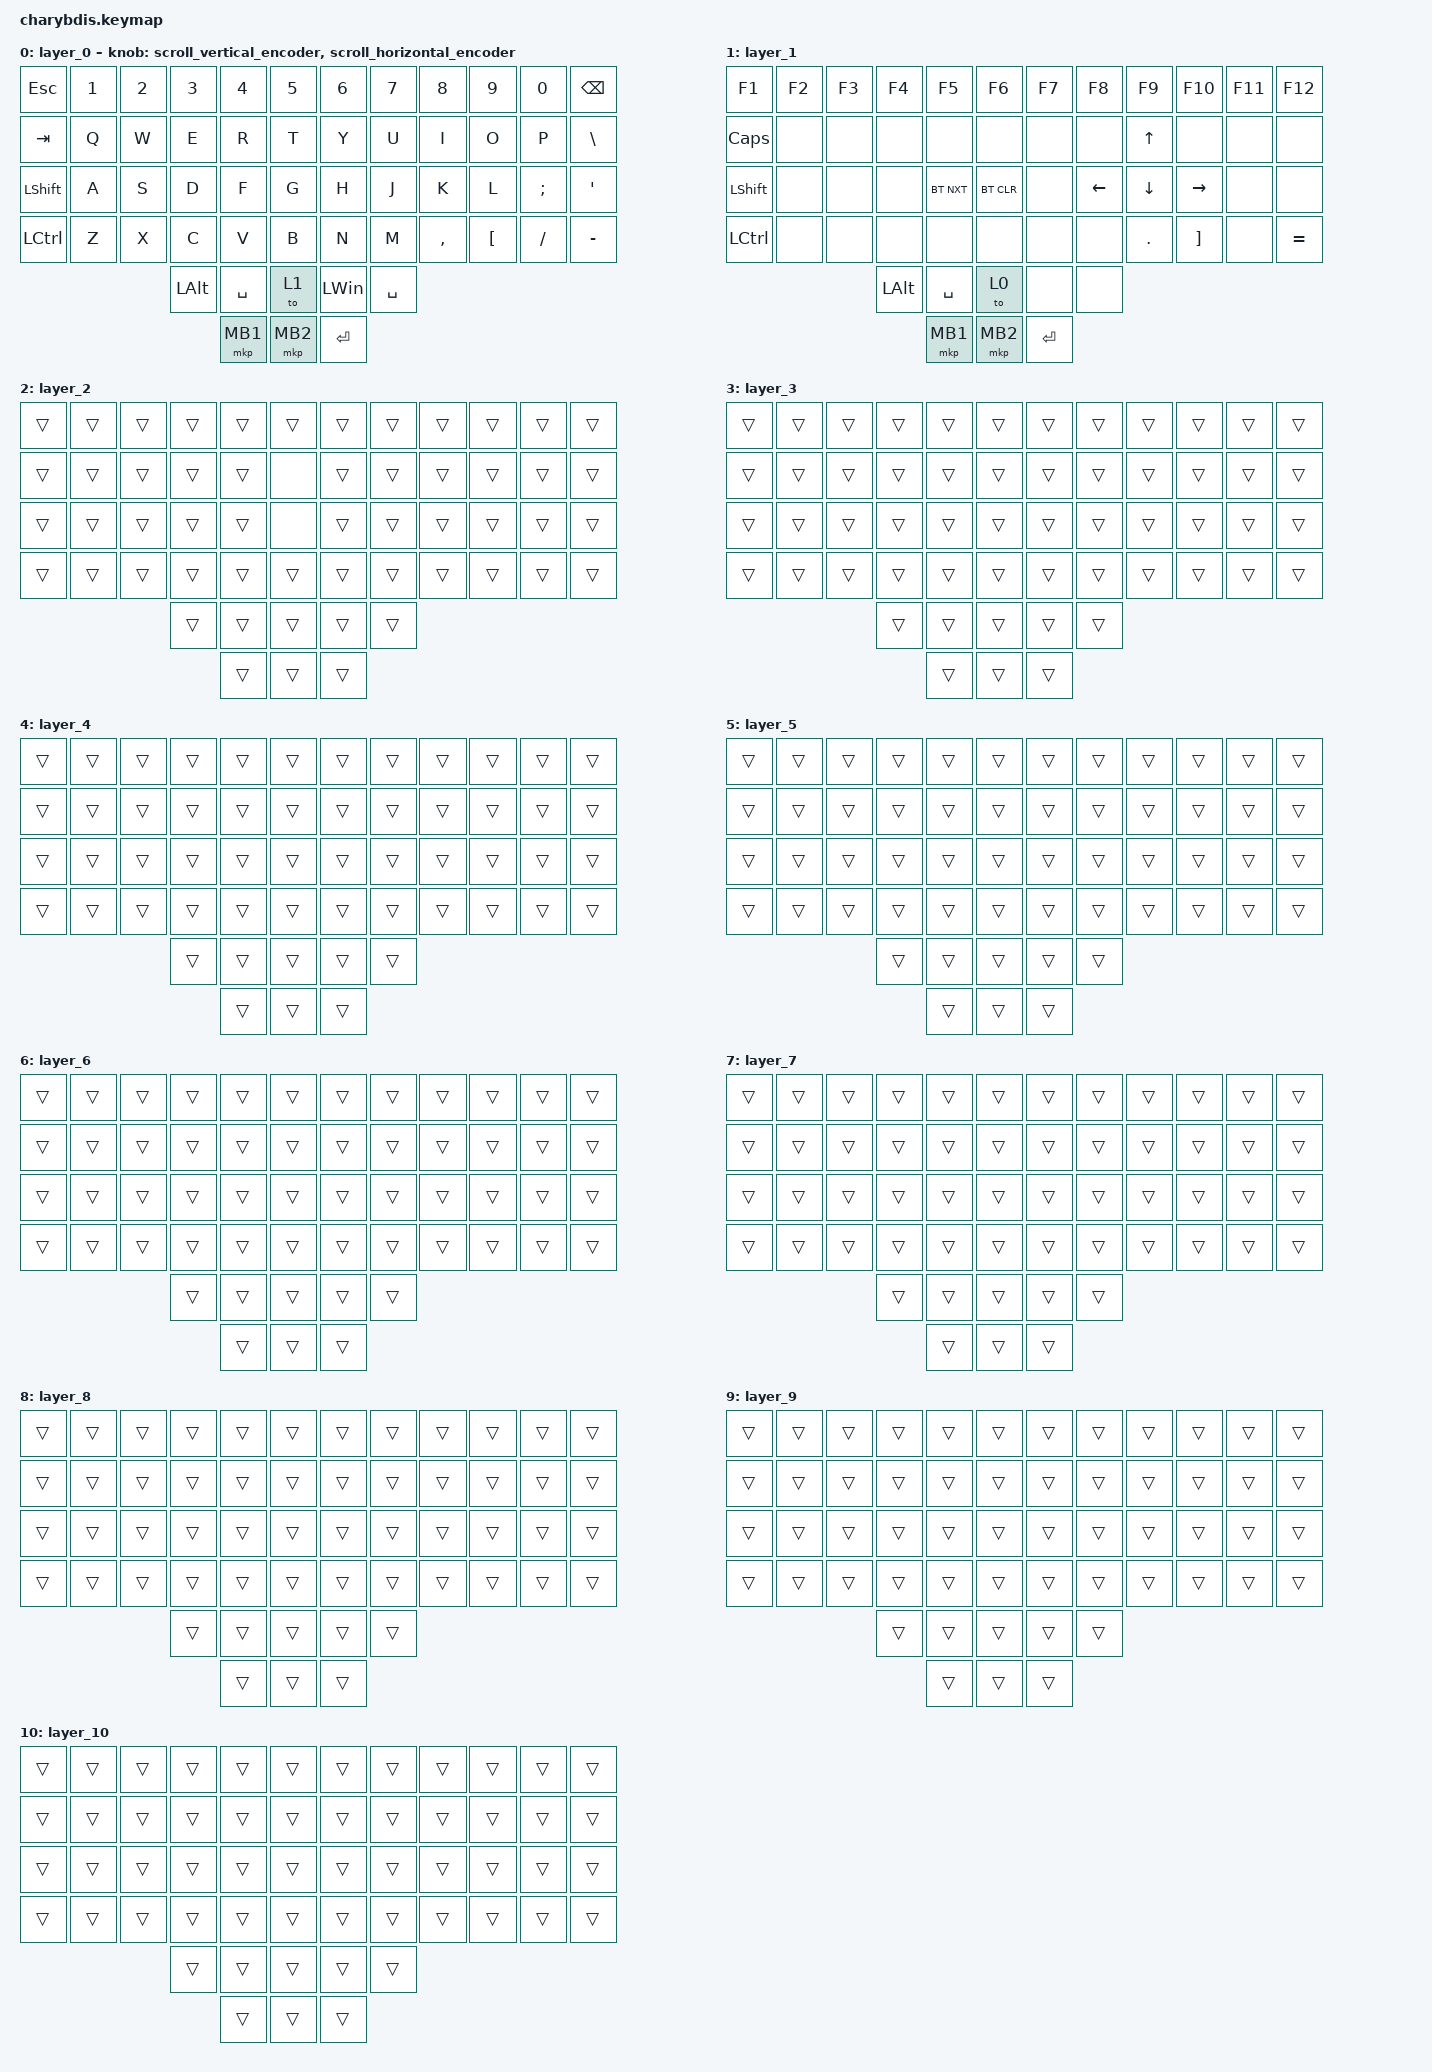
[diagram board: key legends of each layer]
#include <dt-bindings/zmk/mouse.h>
#include <input/processors.dtsi>
#include <zephyr/dt-bindings/input/input-event-codes.h>
#include <behaviors.dtsi>
#include <dt-bindings/zmk/bt.h>
#include <dt-bindings/zmk/keys.h>
#include <dt-bindings/zmk/pointing.h>

#define ZMK_POINTING_DEFAULT_MOVE_VAL 1000 // 600
#define ZMK_POINTING_DEFAULT_SCRL_VAL 12   // 10

&lt {
    tapping-term-ms = <200>;
    flavor = "balanced";
    quick-tap-ms = <150>;
};

&mmv_input_listener { input-processors = <&zip_xy_scaler 2 1>; };

&msc_input_listener { input-processors = <&zip_scroll_scaler 2 1>; };

&msc {
    acceleration-exponent = <0>;      // 0
    time-to-max-speed-ms = <0>;       // 300
    delay-ms = <0>;                   // 0
};

&mmv {
    time-to-max-speed-ms = <500>;
    acceleration-exponent = <1>;
    trigger-period-ms = <16>;
};

/ {
    // 上下滚动编码器行为

    scroll_vertical_encoder: scroll_vertical_encoder {
        compatible = "zmk,behavior-sensor-rotate";
        #sensor-binding-cells = <0>;
        bindings = <&msc SCRL_DOWN>, <&msc SCRL_UP>;

        tap-ms = <100>;
    };

    // 左右滚动编码器行为

    scroll_horizontal_encoder: scroll_horizontal_encoder {
        compatible = "zmk,behavior-sensor-rotate";
        #sensor-binding-cells = <0>;
        bindings = <&msc SCRL_LEFT>, <&msc SCRL_RIGHT>;

        tap-ms = <100>;
    };

    behaviors {
    };

    keymap {
        compatible = "zmk,keymap";

        layer_0 {
            bindings = <
&kp ESC         &kp N1  &kp N2  &kp N3        &kp N4     &kp N5      &kp N6     &kp N7     &kp N8     &kp N9            &kp N0    &kp BACKSPACE
&kp TAB         &kp Q   &kp W   &kp E         &kp R      &kp T       &kp Y      &kp U      &kp I      &kp O             &kp P     &kp BSLH
&kp LEFT_SHIFT  &kp A   &kp S   &kp D         &kp F      &kp G       &kp H      &kp J      &kp K      &kp L             &kp SEMI  &kp SQT
&kp LCTRL       &kp Z   &kp X   &kp C         &kp V      &kp B       &kp N      &kp M      &kp COMMA  &kp LEFT_BRACKET  &kp FSLH  &kp MINUS
                                &kp LEFT_ALT  &kp SPACE  &to 1       &kp LWIN   &kp SPACE
                                              &mkp MB1   &mkp MB2    &kp ENTER
            >;

            sensor-bindings =
                <&scroll_vertical_encoder>,
                // 编码器1：上下滚动,,,,
                <&scroll_horizontal_encoder>;

            // 编码器2：左右滚动
        };

        layer_1 {
            bindings = <
&kp F1          &kp F2  &kp F3  &kp F4        &kp F5      &kp F6        &kp F7     &kp F8    &kp F9      &kp F10            &kp F11  &kp F12
&kp CAPS        &none   &none   &none         &none       &none         &none      &none     &kp UP      &none              &none    &none
&kp LEFT_SHIFT  &none   &none   &none         &bt BT_NXT  &bt BT_CLR    &none      &kp LEFT  &kp DOWN    &kp RIGHT          &none    &none
&kp LCTRL       &none   &none   &none         &none       &none         &none      &none     &kp PERIOD  &kp RIGHT_BRACKET  &none    &kp EQUAL
                                &kp LEFT_ALT  &kp SPACE   &to 0         &none      &none
                                              &mkp MB1    &mkp MB2      &kp ENTER
            >;
        };

        layer_2 {
            bindings = <
&trans  &trans  &trans  &trans  &trans  &trans    &trans  &trans  &trans  &trans  &trans  &trans
&trans  &trans  &trans  &trans  &trans  &none     &trans  &trans  &trans  &trans  &trans  &trans
&trans  &trans  &trans  &trans  &trans  &none     &trans  &trans  &trans  &trans  &trans  &trans
&trans  &trans  &trans  &trans  &trans  &trans    &trans  &trans  &trans  &trans  &trans  &trans
                        &trans  &trans  &trans    &trans  &trans
                                &trans  &trans    &trans
            >;
        };

        layer_3 {
            bindings = <
&trans  &trans  &trans  &trans  &trans  &trans    &trans  &trans  &trans  &trans  &trans  &trans
&trans  &trans  &trans  &trans  &trans  &trans    &trans  &trans  &trans  &trans  &trans  &trans
&trans  &trans  &trans  &trans  &trans  &trans    &trans  &trans  &trans  &trans  &trans  &trans
&trans  &trans  &trans  &trans  &trans  &trans    &trans  &trans  &trans  &trans  &trans  &trans
                        &trans  &trans  &trans    &trans  &trans
                                &trans  &trans    &trans
            >;
        };

        layer_4 {
            bindings = <
&trans  &trans  &trans  &trans  &trans  &trans    &trans  &trans  &trans  &trans  &trans  &trans
&trans  &trans  &trans  &trans  &trans  &trans    &trans  &trans  &trans  &trans  &trans  &trans
&trans  &trans  &trans  &trans  &trans  &trans    &trans  &trans  &trans  &trans  &trans  &trans
&trans  &trans  &trans  &trans  &trans  &trans    &trans  &trans  &trans  &trans  &trans  &trans
                        &trans  &trans  &trans    &trans  &trans
                                &trans  &trans    &trans
            >;
        };

        layer_5 {
            bindings = <
&trans  &trans  &trans  &trans  &trans  &trans    &trans  &trans  &trans  &trans  &trans  &trans
&trans  &trans  &trans  &trans  &trans  &trans    &trans  &trans  &trans  &trans  &trans  &trans
&trans  &trans  &trans  &trans  &trans  &trans    &trans  &trans  &trans  &trans  &trans  &trans
&trans  &trans  &trans  &trans  &trans  &trans    &trans  &trans  &trans  &trans  &trans  &trans
                        &trans  &trans  &trans    &trans  &trans
                                &trans  &trans    &trans
            >;
        };

        layer_6 {
            bindings = <
&trans  &trans  &trans  &trans  &trans  &trans    &trans  &trans  &trans  &trans  &trans  &trans
&trans  &trans  &trans  &trans  &trans  &trans    &trans  &trans  &trans  &trans  &trans  &trans
&trans  &trans  &trans  &trans  &trans  &trans    &trans  &trans  &trans  &trans  &trans  &trans
&trans  &trans  &trans  &trans  &trans  &trans    &trans  &trans  &trans  &trans  &trans  &trans
                        &trans  &trans  &trans    &trans  &trans
                                &trans  &trans    &trans
            >;
        };

        layer_7 {
            bindings = <
&trans  &trans  &trans  &trans  &trans  &trans    &trans  &trans  &trans  &trans  &trans  &trans
&trans  &trans  &trans  &trans  &trans  &trans    &trans  &trans  &trans  &trans  &trans  &trans
&trans  &trans  &trans  &trans  &trans  &trans    &trans  &trans  &trans  &trans  &trans  &trans
&trans  &trans  &trans  &trans  &trans  &trans    &trans  &trans  &trans  &trans  &trans  &trans
                        &trans  &trans  &trans    &trans  &trans
                                &trans  &trans    &trans
            >;
        };

        layer_8 {
            bindings = <
&trans  &trans  &trans  &trans  &trans  &trans    &trans  &trans  &trans  &trans  &trans  &trans
&trans  &trans  &trans  &trans  &trans  &trans    &trans  &trans  &trans  &trans  &trans  &trans
&trans  &trans  &trans  &trans  &trans  &trans    &trans  &trans  &trans  &trans  &trans  &trans
&trans  &trans  &trans  &trans  &trans  &trans    &trans  &trans  &trans  &trans  &trans  &trans
                        &trans  &trans  &trans    &trans  &trans
                                &trans  &trans    &trans
            >;
        };

        layer_9 {
            bindings = <
&trans  &trans  &trans  &trans  &trans  &trans    &trans  &trans  &trans  &trans  &trans  &trans
&trans  &trans  &trans  &trans  &trans  &trans    &trans  &trans  &trans  &trans  &trans  &trans
&trans  &trans  &trans  &trans  &trans  &trans    &trans  &trans  &trans  &trans  &trans  &trans
&trans  &trans  &trans  &trans  &trans  &trans    &trans  &trans  &trans  &trans  &trans  &trans
                        &trans  &trans  &trans    &trans  &trans
                                &trans  &trans    &trans
            >;
        };

        layer_10 {
            bindings = <
&trans  &trans  &trans  &trans  &trans  &trans    &trans  &trans  &trans  &trans  &trans  &trans
&trans  &trans  &trans  &trans  &trans  &trans    &trans  &trans  &trans  &trans  &trans  &trans
&trans  &trans  &trans  &trans  &trans  &trans    &trans  &trans  &trans  &trans  &trans  &trans
&trans  &trans  &trans  &trans  &trans  &trans    &trans  &trans  &trans  &trans  &trans  &trans
                        &trans  &trans  &trans    &trans  &trans
                                &trans  &trans    &trans
            >;
        };

        /* layer_2 {
            bindings = <
&none  &none   &none    &none   &none         &none         &kp N1         &none         &none     &none  &none   &to 0
&none  &none   &none    &none   &none         &none         &none         &none          &rgb_ug RGB_BRD &rgb_ug RGB_BRI  &rgb_ug RGB_EFF   &rgb_ug RGB_TOG
&none  &none   &none    &none   &none         &none         &none         &mkp LCLK     &mkp RCLK  &none  &none   &none
&none  &none   &none    &none   &bt BT_NXT  &bt BT_CLR    &none         &none         &none     &none  &none   &none
                                   &none         &none         &none         &none         &none
                                                 &none         &none         &none
            >;
       
            
        };

       Mouse {
            bindings = <
&none        &none         &none         &none         &none      &none         &none       &none      &none         &none         &none         &none
&none        &bt BT_SEL 0  &bt BT_SEL 1  &bt BT_SEL 3  &none      &bt BT_CLR    &bt BT_CLR  &none      &bt BT_SEL 2  &bt BT_SEL 1  &bt BT_SEL 0  &none
&none        &trans        &trans        &mkp MCLK     &trans     &none         &none       &trans     &mkp MCLK     &trans        &trans        &none
&bootloader  &trans        &mkp RCLK     &mo 4         &mkp LCLK  &mo 5         &mo 5       &mkp LCLK  &mo 4         &mkp RCLK     &trans        &bootloader
                                         &mo 5         &mkp LCLK  &mkp RCLK     &mkp RCLK   &mkp LCLK
                                                       &none      &trans        &trans
            >;

            
        };

        layer_4 {
            bindings = <
&trans  &trans  &trans     &trans     &trans     &trans       &trans     &trans     &trans     &trans     &trans  &trans
&trans  &trans  &trans     &trans     &trans     &trans       &trans     &trans     &trans     &trans     &trans  &trans
&trans  &trans  &trans     &mkp MCLK  &trans     &trans       &trans     &trans     &mkp MCLK  &trans     &trans  &trans
&trans  &trans  &mkp RCLK  &trans     &mkp LCLK  &trans       &trans     &mkp LCLK  &trans     &mkp RCLK  &trans  &trans
                           &trans     &mkp LCLK  &mkp RCLK    &mkp RCLK  &mkp LCLK
                                      &trans     &trans       &trans
            >;
                
                
               
        };

        layer_5 {
            bindings = <
&trans  &trans  &trans     &trans     &trans     &trans       &trans     &trans     &trans     &trans     &trans  &trans
&trans  &trans  &trans     &trans     &trans     &trans       &trans     &trans     &trans     &trans     &trans  &trans
&trans  &trans  &trans     &mkp MCLK  &trans     &trans       &trans     &trans     &mkp MCLK  &trans     &trans  &trans
&trans  &trans  &mkp RCLK  &trans     &mkp LCLK  &trans       &trans     &mkp LCLK  &trans     &mkp RCLK  &trans  &trans
                           &trans     &mkp LCLK  &mkp RCLK    &mkp RCLK  &mkp LCLK
                                      &trans     &trans       &trans
            >;
                
                
        };*/
    };
};
